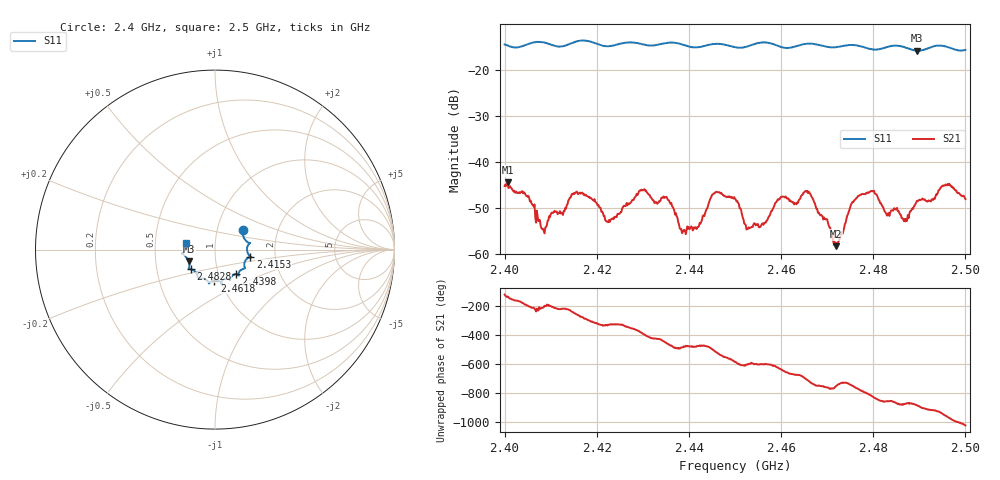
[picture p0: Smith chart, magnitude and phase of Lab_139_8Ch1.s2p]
# Hz S RI R 50
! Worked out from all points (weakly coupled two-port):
!   601 points, 2.4 GHz to 2.5 GHz, reference 50 ohm
!   highest |S21| = -44.45 dB at 2.4007 GHz (marker M1); lowest = -58.3 dB at 2.472 GHz (marker M2)
!   lowest |S11| = -15.9 dB at 2.4895 GHz (marker M3), VSWR 1.38, Z = 37 - j5.03 ohm
!   |S11| at or under -10 dB: start of sweep to end of sweep
!   S12 and S22 are empty: the file has one direction only
!   S11 on the Smith chart (normalised r, x): 2.4 GHz: 1.33, +0.29; 2.4153 GHz: 1.48, -0.12; 2.4398 GHz: 1.21, -0.34; 2.4618 GHz: 0.94, -0.33; 2.4828 GHz: 0.74, -0.17; 2.5 GHz: 0.72, +0.06
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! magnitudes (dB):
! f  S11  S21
! 2.4 GHz  -14.5  -45.3
! 2.4007 GHz  -14.7  -44.5
! 2.4048 GHz  -14.6  -47.5
! 2.4085 GHz  -14.1  -55.1
! 2.4153 GHz  -14.0  -46.7
! 2.4167 GHz  -13.7  -46.8
! 2.4223 GHz  -14.9  -53.0
! 2.4298 GHz  -14.5  -46.2
! 2.4333 GHz  -14.6  -48.9
! 2.4398 GHz  -14.9  -54.6
! 2.4455 GHz  -14.4  -46.8
! 2.45 GHz  -15.1  -48.0
! 2.453 GHz  -14.9  -54.2
! 2.4618 GHz  -15.3  -48.6
! 2.4667 GHz  -14.4  -47.7
! 2.472 GHz  -15.1  -58.3
! 2.4772 GHz  -14.9  -47.2
! 2.4828 GHz  -15.1  -51.3
! 2.4833 GHz  -15.0  -51.1
! 2.4895 GHz  -15.9  -48.5
! 2.496 GHz  -15.0  -45.1
! 2.5 GHz  -15.7  -48.1
